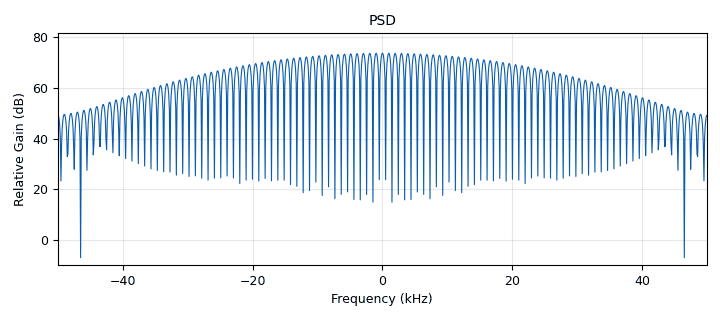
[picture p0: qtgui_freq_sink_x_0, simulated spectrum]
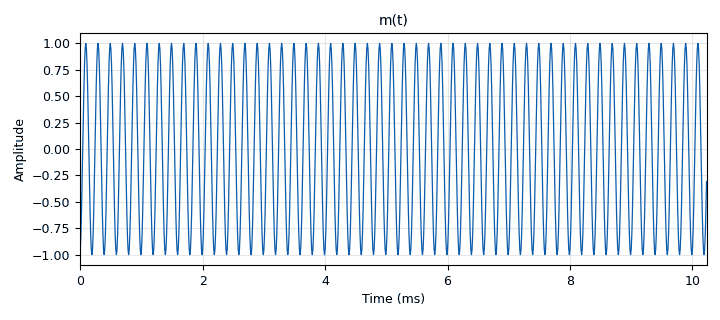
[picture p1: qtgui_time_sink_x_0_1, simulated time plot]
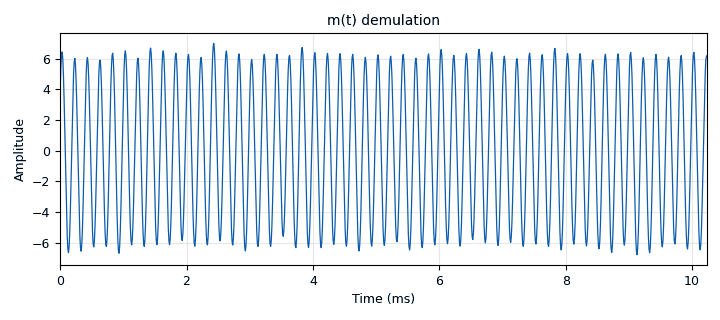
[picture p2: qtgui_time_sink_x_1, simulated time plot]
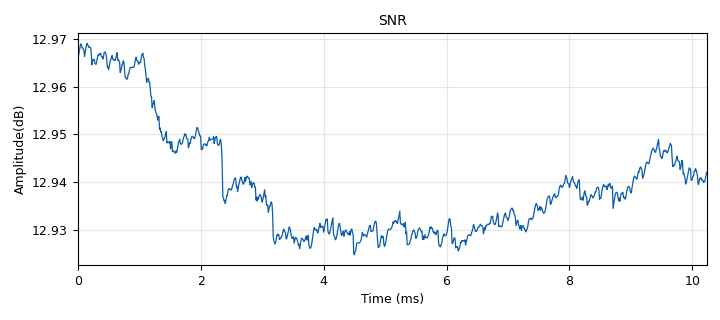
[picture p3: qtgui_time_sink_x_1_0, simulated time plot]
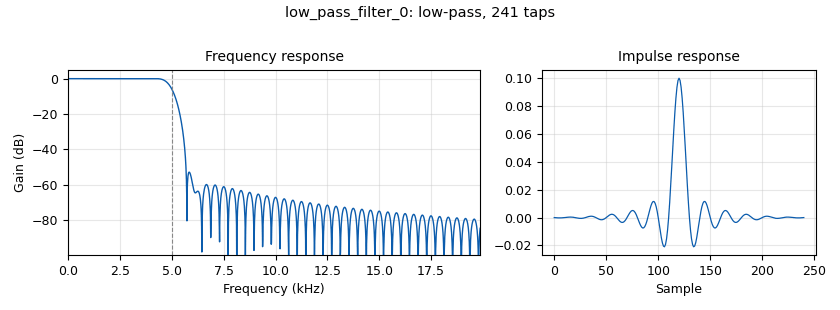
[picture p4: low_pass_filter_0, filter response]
options:
  parameters:
    generate_options: qt_gui
    id: default
    output_language: python
    title: Not titled yet
  states: {}

blocks:
- name: Beta
  id: variable_qtgui_range
  parameters:
    start: '0.1'
    step: '0.1'
    stop: '5'
    value: '1'
  states: {}
- name: noise_amp
  id: variable_qtgui_range
  parameters:
    start: '0'
    step: '1'
    stop: '10'
    value: '1'
  states: {}
- name: samp_rate
  id: variable
  parameters:
    value: '100000'
  states: {}
- name: analog_const_source_x_0
  id: analog_const_source_x
  parameters:
    const: '0'
    type: float
  states: {}
- name: analog_noise_source_x_0
  id: analog_noise_source_x
  parameters:
    amp: noise_amp
    noise_type: analog.GR_GAUSSIAN
    seed: '0'
    type: float
  states: {}
- name: analog_sig_source_x_0
  id: analog_sig_source_x
  parameters:
    amp: '100'
    freq: '40000'
    offset: '0'
    phase: '0'
    samp_rate: samp_rate
    type: float
    waveform: analog.GR_COS_WAVE
  states: {}
- name: analog_sig_source_x_1
  id: analog_sig_source_x
  parameters:
    amp: '1'
    freq: '5000'
    offset: '0'
    phase: '0'
    samp_rate: samp_rate
    type: float
    waveform: analog.GR_SIN_WAVE
  states: {}
- name: analog_sig_source_x_2
  id: analog_sig_source_x
  parameters:
    amp: '1'
    freq: '40000'
    offset: '0'
    phase: '0'
    samp_rate: samp_rate
    type: float
    waveform: analog.GR_COS_WAVE
  states: {}
- name: band_pass_filter_0
  id: band_pass_filter
  parameters:
    gain: '1'
    high_cutoff_freq: '38000'
    interp: '1'
    low_cutoff_freq: '35000'
    samp_rate: samp_rate
    type: interp_fir_filter_fff
    width: '1'
    win: window.WIN_HAMMING
  states: {}
- name: blocks_add_xx_0
  id: blocks_add_xx
  parameters:
    type: float
  states: {}
- name: blocks_complex_to_mag_squared_0
  id: blocks_complex_to_mag_squared
  parameters: {}
  states: {}
- name: blocks_complex_to_mag_squared_0_0
  id: blocks_complex_to_mag_squared
  parameters: {}
  states: {}
- name: blocks_complex_to_mag_squared_0_1
  id: blocks_complex_to_mag_squared
  parameters: {}
  states: {}
- name: blocks_divide_xx_0
  id: blocks_divide_xx
  parameters:
    type: float
  states: {}
- name: blocks_float_to_complex_0
  id: blocks_float_to_complex
  parameters: {}
  states: {}
- name: blocks_float_to_complex_0_0
  id: blocks_float_to_complex
  parameters: {}
  states: {}
- name: blocks_multiply_const_vxx_0_0
  id: blocks_multiply_const_vxx
  parameters:
    const: '10'
    type: float
  states: {}
- name: blocks_multiply_const_xx_0
  id: blocks_multiply_const_xx
  parameters:
    const: Beta
    type: float
  states: {}
- name: blocks_multiply_xx_0
  id: blocks_multiply_xx
  parameters:
    type: float
  states: {}
- name: blocks_multiply_xx_0_0
  id: blocks_multiply_xx
  parameters:
    type: float
  states: {}
- name: blocks_nlog10_ff_0_0
  id: blocks_nlog10_ff
  parameters:
    k: '0'
  states: {}
- name: blocks_rms_xx_0_0
  id: blocks_rms_xx
  parameters:
    alpha: '0.0001'
    type: float
  states: {}
- name: blocks_rms_xx_0_0_0
  id: blocks_rms_xx
  parameters:
    alpha: '0.0001'
    type: float
  states: {}
- name: blocks_stream_to_vector_0
  id: blocks_stream_to_vector
  parameters:
    num_items: '1024'
    type: float
  states: {}
- name: blocks_throttle2_0
  id: blocks_throttle2
  parameters:
    samples_per_second: samp_rate
    type: float
  states: {}
- name: blocks_vector_to_stream_0
  id: blocks_vector_to_stream
  parameters:
    num_items: '1024'
    type: complex
  states: {}
- name: fft_vxx_0
  id: fft_vxx
  parameters:
    fft_size: '1024'
    forward: 'True'
    shift: 'True'
    type: float
    window: window.blackmanharris(1024)
  states: {}
- name: low_pass_filter_0
  id: low_pass_filter
  parameters:
    cutoff_freq: '5000'
    decim: '1'
    gain: '1'
    samp_rate: samp_rate
    type: fir_filter_fff
    width: '1000'
    win: window.WIN_HAMMING
  states: {}
- name: qtgui_freq_sink_x_0
  id: qtgui_freq_sink_x
  parameters:
    autoscale: 'True'
    bw: samp_rate
    fc: '0'
    fftsize: '1024'
    name: PSD
    type: float
  states: {}
- name: qtgui_time_sink_x_0_1
  id: qtgui_time_sink_x
  parameters:
    autoscale: 'True'
    name: m(t)
    size: '1024'
    srate: samp_rate
    type: float
  states: {}
- name: qtgui_time_sink_x_1
  id: qtgui_time_sink_x
  parameters:
    autoscale: 'True'
    name: m(t) demulation
    size: '1024'
    srate: samp_rate
    type: float
  states: {}
- name: qtgui_time_sink_x_1_0
  id: qtgui_time_sink_x
  parameters:
    autoscale: 'True'
    name: SNR
    size: '1024'
    srate: samp_rate
    type: float
    ylabel: Amplitude(dB)
  states: {}

connections:
- [analog_const_source_x_0, '0', blocks_float_to_complex_0, '1']
- [analog_const_source_x_0, '0', blocks_float_to_complex_0_0, '1']
- [analog_noise_source_x_0, '0', blocks_add_xx_0, '0']
- [analog_noise_source_x_0, '0', blocks_rms_xx_0_0, '0']
- [analog_sig_source_x_0, '0', blocks_multiply_xx_0, '1']
- [analog_sig_source_x_1, '0', blocks_multiply_xx_0, '0']
- [analog_sig_source_x_1, '0', qtgui_time_sink_x_0_1, '0']
- [analog_sig_source_x_2, '0', blocks_multiply_xx_0_0, '1']
- [band_pass_filter_0, '0', blocks_add_xx_0, '1']
- [blocks_add_xx_0, '0', blocks_multiply_xx_0_0, '0']
- [blocks_complex_to_mag_squared_0, '0', blocks_divide_xx_0, '1']
- [blocks_complex_to_mag_squared_0_0, '0', blocks_divide_xx_0, '0']
- [blocks_complex_to_mag_squared_0_1, '0', qtgui_freq_sink_x_0, '0']
- [blocks_divide_xx_0, '0', blocks_nlog10_ff_0_0, '0']
- [blocks_float_to_complex_0, '0', blocks_complex_to_mag_squared_0, '0']
- [blocks_float_to_complex_0_0, '0', blocks_complex_to_mag_squared_0_0, '0']
- [blocks_multiply_const_vxx_0_0, '0', qtgui_time_sink_x_1_0, '0']
- [blocks_multiply_const_xx_0, '0', blocks_stream_to_vector_0, '0']
- [blocks_multiply_const_xx_0, '0', qtgui_time_sink_x_1, '0']
- [blocks_multiply_xx_0, '0', blocks_throttle2_0, '0']
- [blocks_multiply_xx_0_0, '0', low_pass_filter_0, '0']
- [blocks_nlog10_ff_0_0, '0', blocks_multiply_const_vxx_0_0, '0']
- [blocks_rms_xx_0_0, '0', blocks_float_to_complex_0, '0']
- [blocks_rms_xx_0_0_0, '0', blocks_float_to_complex_0_0, '0']
- [blocks_stream_to_vector_0, '0', fft_vxx_0, '0']
- [blocks_throttle2_0, '0', band_pass_filter_0, '0']
- [blocks_vector_to_stream_0, '0', blocks_complex_to_mag_squared_0_1, '0']
- [fft_vxx_0, '0', blocks_vector_to_stream_0, '0']
- [low_pass_filter_0, '0', blocks_multiply_const_xx_0, '0']
- [low_pass_filter_0, '0', blocks_rms_xx_0_0_0, '0']

metadata:
  file_format: 1
  grc_version: 3.10.10.0
